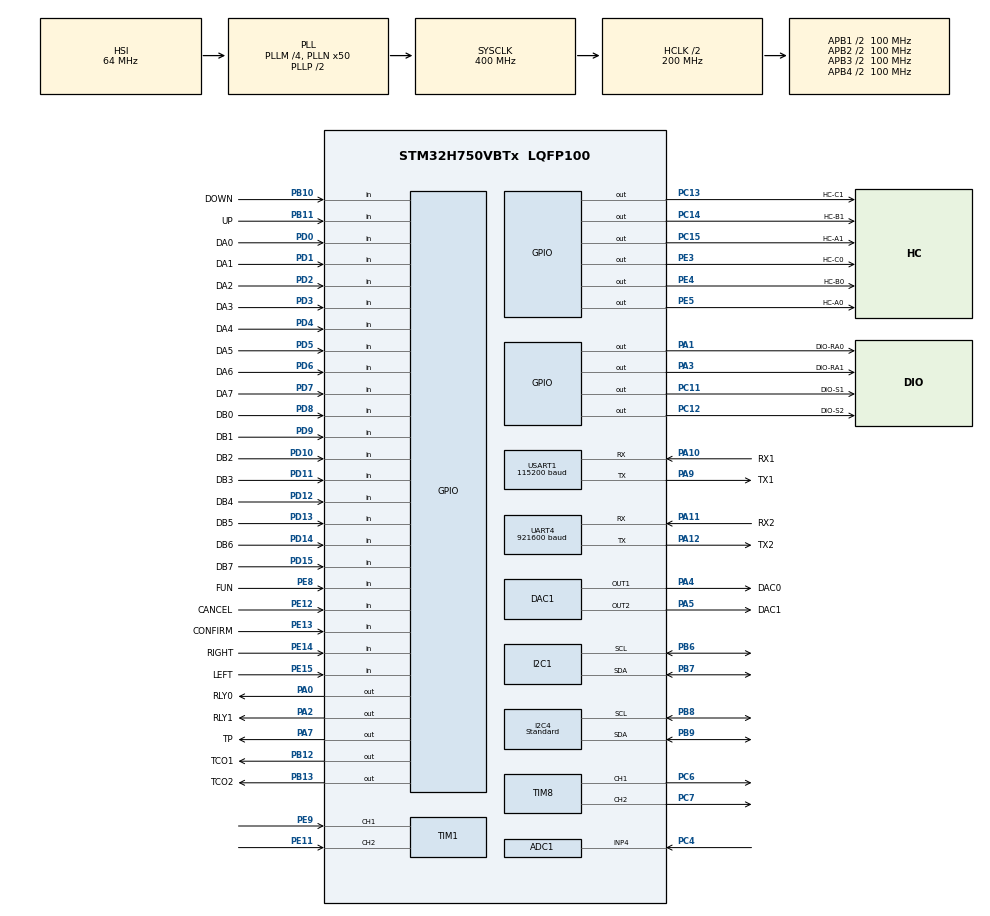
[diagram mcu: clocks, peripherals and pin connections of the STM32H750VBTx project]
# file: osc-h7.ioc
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ADC1.Channel-19\#ChannelRegularConversion=ADC_CHANNEL_4
ADC1.ContinuousConvMode=ENABLE
ADC1.DiscontinuousConvMode=DISABLE
ADC1.NbrOfConversion=1
ADC1.NbrOfConversionFlag=1
ADC1.OffsetNumber-19\#ChannelRegularConversion=ADC_OFFSET_NONE
ADC1.OffsetSignedSaturation-19\#ChannelRegularConversion=DISABLE
ADC1.Rank-19\#ChannelRegularConversion=1
ADC1.SamplingTime-19\#ChannelRegularConversion=ADC_SAMPLETIME_1CYCLE_5
ADC1.master=1
Bdma.BDMA_GENERATOR0.0.Direction=DMA_PERIPH_TO_MEMORY
Bdma.BDMA_GENERATOR0.0.EventEnable=DISABLE
Bdma.BDMA_GENERATOR0.0.Instance=BDMA_Channel0
Bdma.BDMA_GENERATOR0.0.MemDataAlignment=DMA_MDATAALIGN_BYTE
Bdma.BDMA_GENERATOR0.0.MemInc=DMA_MINC_ENABLE
Bdma.BDMA_GENERATOR0.0.Mode=DMA_NORMAL
Bdma.BDMA_GENERATOR0.0.PeriphDataAlignment=DMA_PDATAALIGN_BYTE
Bdma.BDMA_GENERATOR0.0.PeriphInc=DMA_PINC_DISABLE
Bdma.BDMA_GENERATOR0.0.Polarity=HAL_DMAMUX_REQ_GEN_RISING
Bdma.BDMA_GENERATOR0.0.Priority=DMA_PRIORITY_LOW
Bdma.BDMA_GENERATOR0.0.RequestNumber=1
Bdma.BDMA_GENERATOR0.0.SignalID=NONE
Bdma.BDMA_GENERATOR0.0.SyncEnable=DISABLE
Bdma.BDMA_GENERATOR0.0.SyncPolarity=HAL_DMAMUX_SYNC_NO_EVENT
Bdma.BDMA_GENERATOR0.0.SyncRequestNumber=1
Bdma.BDMA_GENERATOR0.0.SyncSignalID=NONE
Bdma.I2C4_TX.1.Direction=DMA_MEMORY_TO_PERIPH
Bdma.I2C4_TX.1.EventEnable=DISABLE
Bdma.I2C4_TX.1.Instance=BDMA_Channel1
Bdma.I2C4_TX.1.MemDataAlignment=DMA_MDATAALIGN_BYTE
Bdma.I2C4_TX.1.MemInc=DMA_MINC_ENABLE
Bdma.I2C4_TX.1.Mode=DMA_NORMAL
Bdma.I2C4_TX.1.PeriphDataAlignment=DMA_PDATAALIGN_BYTE
Bdma.I2C4_TX.1.PeriphInc=DMA_PINC_DISABLE
Bdma.I2C4_TX.1.Polarity=HAL_DMAMUX_REQ_GEN_RISING
Bdma.I2C4_TX.1.Priority=DMA_PRIORITY_LOW
Bdma.I2C4_TX.1.RequestNumber=1
Bdma.I2C4_TX.1.SignalID=NONE
Bdma.I2C4_TX.1.SyncEnable=DISABLE
Bdma.I2C4_TX.1.SyncPolarity=HAL_DMAMUX_SYNC_NO_EVENT
Bdma.I2C4_TX.1.SyncRequestNumber=1
Bdma.I2C4_TX.1.SyncSignalID=NONE
Bdma.Request0=BDMA_GENERATOR0
Bdma.Request1=I2C4_TX
Bdma.RequestsNb=2
DAC1.DAC_Channel-DAC_OUT1=DAC_CHANNEL_1
DAC1.DAC_Channel-DAC_OUT2=DAC_CHANNEL_2
Dma.Request0=USART1_RX
Dma.Request1=USART1_TX
Dma.Request2=TIM8_CH1
Dma.Request3=UART4_TX
Dma.TIM8_CH1.2.Direction=DMA_PERIPH_TO_MEMORY
Dma.TIM8_CH1.2.EventEnable=DISABLE
Dma.TIM8_CH1.2.FIFOMode=DMA_FIFOMODE_DISABLE
Dma.TIM8_CH1.2.Instance=DMA1_Stream0
Dma.TIM8_CH1.2.MemDataAlignment=DMA_MDATAALIGN_HALFWORD
Dma.TIM8_CH1.2.MemInc=DMA_MINC_ENABLE
Dma.TIM8_CH1.2.Mode=DMA_NORMAL
Dma.TIM8_CH1.2.PeriphDataAlignment=DMA_PDATAALIGN_HALFWORD
Dma.TIM8_CH1.2.PeriphInc=DMA_PINC_DISABLE
Dma.TIM8_CH1.2.Polarity=HAL_DMAMUX_REQ_GEN_RISING
Dma.TIM8_CH1.2.Priority=DMA_PRIORITY_LOW
Dma.TIM8_CH1.2.RequestNumber=1
Dma.TIM8_CH1.2.SignalID=NONE
Dma.TIM8_CH1.2.SyncEnable=DISABLE
Dma.TIM8_CH1.2.SyncPolarity=HAL_DMAMUX_SYNC_NO_EVENT
Dma.TIM8_CH1.2.SyncRequestNumber=1
Dma.TIM8_CH1.2.SyncSignalID=NONE
Dma.UART4_TX.3.Direction=DMA_MEMORY_TO_PERIPH
Dma.UART4_TX.3.EventEnable=DISABLE
Dma.UART4_TX.3.FIFOMode=DMA_FIFOMODE_DISABLE
Dma.UART4_TX.3.Instance=DMA1_Stream1
Dma.UART4_TX.3.MemDataAlignment=DMA_MDATAALIGN_BYTE
Dma.UART4_TX.3.MemInc=DMA_MINC_ENABLE
Dma.UART4_TX.3.Mode=DMA_NORMAL
Dma.UART4_TX.3.PeriphDataAlignment=DMA_PDATAALIGN_BYTE
Dma.UART4_TX.3.PeriphInc=DMA_PINC_DISABLE
Dma.UART4_TX.3.Polarity=HAL_DMAMUX_REQ_GEN_RISING
Dma.UART4_TX.3.Priority=DMA_PRIORITY_LOW
Dma.UART4_TX.3.RequestNumber=1
Dma.UART4_TX.3.SignalID=NONE
Dma.UART4_TX.3.SyncEnable=DISABLE
Dma.UART4_TX.3.SyncPolarity=HAL_DMAMUX_SYNC_NO_EVENT
Dma.UART4_TX.3.SyncRequestNumber=1
Dma.UART4_TX.3.SyncSignalID=NONE
Dma.USART1_RX.0.Direction=DMA_PERIPH_TO_MEMORY
Dma.USART1_RX.0.EventEnable=DISABLE
Dma.USART1_RX.0.FIFOMode=DMA_FIFOMODE_DISABLE
Dma.USART1_RX.0.Instance=DMA1_Stream5
Dma.USART1_RX.0.MemDataAlignment=DMA_MDATAALIGN_HALFWORD
Dma.USART1_RX.0.MemInc=DMA_MINC_ENABLE
Dma.USART1_RX.0.Mode=DMA_NORMAL
Dma.USART1_RX.0.PeriphDataAlignment=DMA_PDATAALIGN_HALFWORD
Dma.USART1_RX.0.PeriphInc=DMA_PINC_DISABLE
Dma.USART1_RX.0.Polarity=HAL_DMAMUX_REQ_GEN_RISING
Dma.USART1_RX.0.Priority=DMA_PRIORITY_LOW
Dma.USART1_RX.0.RequestNumber=1
Dma.USART1_RX.0.SignalID=NONE
Dma.USART1_RX.0.SyncEnable=DISABLE
Dma.USART1_RX.0.SyncPolarity=HAL_DMAMUX_SYNC_NO_EVENT
Dma.USART1_RX.0.SyncRequestNumber=1
Dma.USART1_RX.0.SyncSignalID=NONE
Dma.USART1_TX.1.Direction=DMA_MEMORY_TO_PERIPH
Dma.USART1_TX.1.EventEnable=DISABLE
Dma.USART1_TX.1.FIFOMode=DMA_FIFOMODE_DISABLE
Dma.USART1_TX.1.Instance=DMA1_Stream6
Dma.USART1_TX.1.MemDataAlignment=DMA_MDATAALIGN_HALFWORD
Dma.USART1_TX.1.MemInc=DMA_MINC_ENABLE
Dma.USART1_TX.1.Mode=DMA_NORMAL
Dma.USART1_TX.1.PeriphDataAlignment=DMA_PDATAALIGN_HALFWORD
Dma.USART1_TX.1.PeriphInc=DMA_PINC_DISABLE
Dma.USART1_TX.1.Polarity=HAL_DMAMUX_REQ_GEN_RISING
Dma.USART1_TX.1.Priority=DMA_PRIORITY_LOW
Dma.USART1_TX.1.RequestNumber=1
Dma.USART1_TX.1.SignalID=NONE
Dma.USART1_TX.1.SyncEnable=DISABLE
Dma.USART1_TX.1.SyncPolarity=HAL_DMAMUX_SYNC_NO_EVENT
Dma.USART1_TX.1.SyncRequestNumber=1
Dma.USART1_TX.1.SyncSignalID=NONE
I2C1.Timing=0x10C0ECFF
I2C4.I2C_Speed_Mode=I2C_Standard
I2C4.Timing=0x10C0ECFF
Mcu.Family=STM32H7
Mcu.Name=STM32H750VBTx
Mcu.Package=LQFP100
NVIC.ADC_IRQn=true\:0\:0\:false\:false\:true\:true\:true\:true
NVIC.BDMA_Channel1_IRQn=true\:0\:0\:false\:false\:true\:false\:true\:true
NVIC.DMA1_Stream0_IRQn=true\:0\:0\:false\:false\:true\:false\:true\:true
NVIC.DMA1_Stream1_IRQn=true\:0\:0\:false\:false\:true\:false\:true\:true
NVIC.DMA1_Stream5_IRQn=true\:0\:0\:false\:false\:true\:false\:true\:true
NVIC.DMA1_Stream6_IRQn=true\:0\:0\:false\:false\:true\:false\:true\:true
NVIC.I2C4_ER_IRQn=true\:0\:0\:false\:false\:true\:true\:true\:true
NVIC.I2C4_EV_IRQn=true\:0\:0\:false\:false\:true\:true\:true\:true
NVIC.PriorityGroup=NVIC_PRIORITYGROUP_4
NVIC.TIM2_IRQn=true\:2\:0\:true\:false\:true\:true\:true\:true
NVIC.TIM3_IRQn=true\:3\:0\:true\:false\:true\:true\:true\:true
NVIC.TIM4_IRQn=true\:2\:0\:true\:false\:true\:true\:true\:true
NVIC.TIM5_IRQn=true\:1\:0\:true\:false\:true\:true\:true\:true
NVIC.TIM6_DAC_IRQn=true\:2\:0\:true\:false\:true\:true\:true\:true
NVIC.UART4_IRQn=true\:0\:0\:false\:false\:true\:true\:true\:true
NVIC.USART1_IRQn=true\:0\:0\:false\:false\:true\:true\:true\:true
PA0.GPIO_Label=RLY0
PA0.Signal=GPIO_Output
PA1.GPIO_Label=DIO-RA0
PA1.Signal=GPIO_Output
PA10.GPIO_Label=RX1
PA10.Mode=Asynchronous
PA10.Signal=USART1_RX
PA11.GPIO_Label=RX2
PA11.Mode=Asynchronous
PA11.Signal=UART4_RX
PA12.GPIO_Label=TX2
PA12.Mode=Asynchronous
PA12.Signal=UART4_TX
PA2.GPIO_Label=RLY1
PA2.Signal=GPIO_Output
PA3.GPIO_Label=DIO-RA1
PA3.Signal=GPIO_Output
PA4.GPIO_Label=DAC0
PA4.Signal=COMP_DAC11_group
PA5.GPIO_Label=DAC1
PA5.Signal=COMP_DAC12_group
PA7.GPIO_Label=TP
PA7.GPIO_ModeDefaultOutputPP=GPIO_MODE_OUTPUT_PP
PA7.GPIO_PuPd=GPIO_PULLUP
PA7.PinState=GPIO_PIN_SET
PA7.Signal=GPIO_Output
PA9.GPIO_Label=TX1
PA9.Mode=Asynchronous
PA9.Signal=USART1_TX
PB10.GPIO_Label=DOWN
PB10.GPIO_PuPd=GPIO_PULLUP
PB10.Signal=GPIO_Input
PB11.GPIO_Label=UP
PB11.GPIO_PuPd=GPIO_PULLUP
PB11.Signal=GPIO_Input
PB12.GPIO_Label=TCO1
PB12.Signal=GPIO_Output
PB13.GPIO_Label=TCO2
PB13.Signal=GPIO_Output
PB6.Mode=I2C
PB6.Signal=I2C1_SCL
PB7.Mode=I2C
PB7.Signal=I2C1_SDA
PB8.Mode=I2C
PB8.Signal=I2C4_SCL
PB9.Mode=I2C
PB9.Signal=I2C4_SDA
PC11.GPIO_Label=DIO-S1
PC11.GPIO_ModeDefaultOutputPP=GPIO_MODE_OUTPUT_PP
PC11.PinAttribute=Free
PC11.Signal=GPIO_Output
PC12.GPIO_Label=DIO-S2
PC12.Signal=GPIO_Output
PC13.GPIO_Label=HC-C1
PC13.Signal=GPIO_Output
PC14-OSC32_IN\ (OSC32_IN).GPIO_Label=HC-B1
PC14-OSC32_IN\ (OSC32_IN).Signal=GPIO_Output
PC15-OSC32_OUT\ (OSC32_OUT).GPIO_Label=HC-A1
PC15-OSC32_OUT\ (OSC32_OUT).Signal=GPIO_Output
PC4.Signal=ADCx_INP4
PC6.Signal=S_TIM8_CH1
PC7.Signal=S_TIM8_CH2
PD0.GPIO_Label=DA0
PD0.GPIO_PuPd=GPIO_PULLDOWN
PD0.PinAttribute=Free
PD0.Signal=GPIO_Input
PD1.GPIO_Label=DA1
PD1.GPIO_PuPd=GPIO_PULLDOWN
PD1.PinAttribute=Free
PD1.Signal=GPIO_Input
PD10.GPIO_Label=DB2
PD10.GPIO_PuPd=GPIO_PULLDOWN
PD10.Signal=GPIO_Input
PD11.GPIO_Label=DB3
PD11.GPIO_Mode=GPIO_MODE_INPUT
PD11.GPIO_PuPd=GPIO_PULLDOWN
PD11.Signal=GPIO_Input
PD12.GPIO_Label=DB4
PD12.GPIO_Mode=GPIO_MODE_INPUT
PD12.GPIO_PuPd=GPIO_PULLDOWN
PD12.Signal=GPIO_Input
PD13.GPIO_Label=DB5
PD13.GPIO_Mode=GPIO_MODE_INPUT
PD13.GPIO_PuPd=GPIO_PULLDOWN
PD13.Signal=GPIO_Input
PD14.GPIO_Label=DB6
PD14.GPIO_Mode=GPIO_MODE_INPUT
PD14.GPIO_PuPd=GPIO_PULLDOWN
PD14.Signal=GPIO_Input
PD15.GPIO_Label=DB7
PD15.GPIO_Mode=GPIO_MODE_INPUT
PD15.GPIO_PuPd=GPIO_PULLDOWN
PD15.Signal=GPIO_Input
PD2.GPIO_Label=DA2
PD2.GPIO_PuPd=GPIO_PULLDOWN
PD2.PinAttribute=Free
PD2.Signal=GPIO_Input
PD3.GPIO_Label=DA3
PD3.GPIO_PuPd=GPIO_PULLUP
PD3.PinAttribute=Free
PD3.Signal=GPIO_Input
PD4.GPIO_Label=DA4
PD4.GPIO_PuPd=GPIO_PULLDOWN
PD4.PinAttribute=Free
PD4.Signal=GPIO_Input
PD5.GPIO_Label=DA5
PD5.GPIO_PuPd=GPIO_PULLDOWN
PD5.PinAttribute=Free
PD5.Signal=GPIO_Input
PD6.GPIO_Label=DA6
PD6.GPIO_PuPd=GPIO_PULLDOWN
PD6.PinAttribute=Free
PD6.Signal=GPIO_Input
PD7.GPIO_Label=DA7
PD7.GPIO_PuPd=GPIO_PULLUP
PD7.Signal=GPIO_Input
PD8.GPIO_Label=DB0
PD8.GPIO_PuPd=GPIO_PULLDOWN
PD8.Signal=GPIO_Input
PD9.GPIO_Label=DB1
PD9.GPIO_PuPd=GPIO_PULLDOWN
PD9.Signal=GPIO_Input
PE11.Signal=S_TIM1_CH2
PE12.GPIO_Label=CANCEL
PE12.GPIO_PuPd=GPIO_PULLUP
PE12.Signal=GPIO_Input
PE13.GPIO_Label=CONFIRM
PE13.GPIO_PuPd=GPIO_PULLUP
PE13.Signal=GPIO_Input
PE14.GPIO_Label=RIGHT
PE14.GPIO_PuPd=GPIO_PULLUP
PE14.Signal=GPIO_Input
PE15.GPIO_Label=LEFT
PE15.GPIO_PuPd=GPIO_PULLUP
PE15.Signal=GPIO_Input
PE3.GPIO_Label=HC-C0
PE3.PinAttribute=Free
PE3.Signal=GPIO_Output
PE4.GPIO_Label=HC-B0
PE4.PinAttribute=Free
PE4.Signal=GPIO_Output
PE5.GPIO_Label=HC-A0
PE5.PinAttribute=Free
PE5.Signal=GPIO_Output
PE8.GPIO_Label=FUN
PE8.GPIO_PuPd=GPIO_PULLUP
PE8.Signal=GPIO_Input
PE9.Signal=S_TIM1_CH1
PH0-OSC_IN\ (PH0).Mode=HSE-External-Oscillator
PH0-OSC_IN\ (PH0).PinAttribute=Free
PH0-OSC_IN\ (PH0).Signal=RCC_OSC_IN
PH1-OSC_OUT\ (PH1).Mode=HSE-External-Oscillator
PH1-OSC_OUT\ (PH1).Signal=RCC_OSC_OUT
ProjectManager.HeapSize=0x200
ProjectManager.StackSize=0x400
ProjectManager.TargetToolchain=MDK-ARM V5.32
RCC.ADCFreq_Value=75000000
RCC.APB1Freq_Value=100000000
RCC.APB2Freq_Value=100000000
RCC.APB3Freq_Value=100000000
RCC.APB4Freq_Value=100000000
RCC.CortexFreq_Value=400000000
RCC.D1PPRE=RCC_APB3_DIV2
RCC.D2PPRE1=RCC_APB1_DIV2
RCC.D2PPRE2=RCC_APB2_DIV2
RCC.D3PPRE=RCC_APB4_DIV2
RCC.DIVM1=4
RCC.DIVM2=4
RCC.DIVN1=50
RCC.DIVN2=9
RCC.FLatency-AdvancedSettings=FLASH_LATENCY_4
RCC.HCLKFreq_Value=200000000
RCC.HPRE=RCC_HCLK_DIV2
RCC.PLL1_VCI_Range-AdvancedSettings=RCC_PLL1VCIRANGE_1
RCC.PLL2FRACN=3072
RCC.PLL2_VCI_Range-AdvancedSettings=RCC_PLL2VCIRANGE_2
RCC.PLL3FRACN=0
RCC.PLL3_VCI_Range-AdvancedSettings=RCC_PLL3VCIRANGE_0
RCC.PLL3_VCO_SEL-AdvancedSettings=RCC_PLL3VCOMEDIUM
RCC.PLLFRACN=0
RCC.SYSCLKFreq_VALUE=400000000
RCC.SYSCLKSource=RCC_SYSCLKSOURCE_PLLCLK
RCC.USART16CLockSelection=RCC_USART16CLKSOURCE_PLL2
RCC.USART234578CLockSelection=RCC_USART234578CLKSOURCE_PLL2
RCC.USBFreq_Value=400000000
SH.ADCx_INP4.0=ADC1_INP4,IN4-Single-Ended
SH.COMP_DAC11_group.0=DAC1_OUT1,DAC_OUT1
SH.COMP_DAC12_group.0=DAC1_OUT2,DAC_OUT2
SH.S_TIM1_CH1.0=TIM1_CH1,Encoder_Interface
SH.S_TIM1_CH2.0=TIM1_CH2,Encoder_Interface
SH.S_TIM8_CH1.0=TIM8_CH1,PWM Generation1 CH1
SH.S_TIM8_CH2.0=TIM8_CH2,PWM Generation2 CH2
TIM2.Period=100-1
TIM2.Prescaler=20000-1
TIM3.Period=2000-1
TIM3.Prescaler=20000-1
TIM4.Period=100-1
TIM4.Prescaler=20000-1
TIM6.Prescaler=200-1
TIM8.Channel-PWM\ Generation1\ CH1=TIM_CHANNEL_1
TIM8.Channel-PWM\ Generation2\ CH2=TIM_CHANNEL_2
UART4.BaudRate=921600
USART1.BaudRate=115200
USART1.VirtualMode-Asynchronous=VM_ASYNC
VP_TIM2_VS_ClockSourceINT.Mode=Internal
VP_TIM3_VS_ClockSourceINT.Mode=Internal
VP_TIM4_VS_ClockSourceINT.Mode=Internal
VP_TIM5_VS_ClockSourceINT.Mode=Internal
VP_TIM6_VS_ClockSourceINT.Mode=Enable_Timer
VP_TIM8_VS_ClockSourceINT.Mode=Internal
VP_VREFBUF_V_VREFBUF.Mode=ExternalMode
board=custom

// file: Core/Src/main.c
/* USER CODE BEGIN Header */
/**
  ******************************************************************************
  * @file           : main.c
  * @brief          : Main program body
  ******************************************************************************
  * @attention
  *
  * Copyright (c) 2024 STMicroelectronics.
  * All rights reserved.
  *
  * This software is licensed under terms that can be found in the LICENSE file
  * in the root directory of this software component.
  * If no LICENSE file comes with this software, it is provided AS-IS.
  *
  ******************************************************************************
  */
/* USER CODE END Header */
#include "main.h"
#include "adc.h"
#include "bdma.h"
#include "dac.h"
#include "dma.h"
#include "i2c.h"
#include "tim.h"
#include "usart.h"
#include "gpio.h"

/* USER CODE BEGIN Includes */
#include "stdio.h"
#include "osc.h"
#include "key.h"
#include "filter.h"
#include "button.h"
#include "menu.h"
#include "flash.h"
//#include "DS18B20.h"
#include "function.h"
#include "18b20.h"
#include "pt100.h"
#include "encoder.h"
/* USER CODE END Includes */

void SystemClock_Config(void);
void PeriphCommonClock_Config(void);
/* USER CODE BEGIN PFP */

int fputc(int ch, FILE* file)
{
    UART4->TDR = ch & 0xFF;

    while((UART4->ISR & UART_FLAG_TC) == RESET);

    return ch;
}

/* USER CODE END PFP */

int main(void)
{

  /* MCU Configuration--------------------------------------------------------*/

  /* Reset of all peripherals, Initializes the Flash interface and the Systick. */
  HAL_Init();

  /* Configure the system clock */
  SystemClock_Config();

/* Configure the peripherals common clocks */
  PeriphCommonClock_Config();

  /* USER CODE BEGIN SysInit */
	HAL_Delay(1000);
  /* USER CODE END SysInit */

  /* Initialize all configured peripherals */
  MX_GPIO_Init();
  MX_DMA_Init();
  MX_BDMA_Init();
  MX_TIM3_Init();
  MX_USART1_UART_Init();
  MX_DAC1_Init();
  MX_UART4_Init();
  MX_TIM1_Init();
  MX_I2C1_Init();
  MX_I2C4_Init();
  MX_ADC1_Init();
  MX_TIM5_Init();
  MX_TIM8_Init();
  MX_TIM2_Init();
  MX_TIM4_Init();
  MX_TIM6_Init();
  /* USER CODE BEGIN 2 */
	encoder_init();
	Init_Osc();
	init_tempctrl();
	HAL_TIM_Base_Start_IT(&htim6);
	DS18B20_Init();

	DAC_init();                                                                                                                    //	DAC_init();
	if(*(__IO uint32_t*)0x08019000!=0xffffffff) load_calibo_data();
 DS18B20_SetLowResolution();
  /* USER CODE END 2 */

  /* Infinite loop */
  /* USER CODE BEGIN WHILE */
//	DS18B20_Init();
	//HAL_GPIO_WritePin(GPIOA,GPIO_PIN_7,GPIO_PIN_SET);

  while (1)
  {

//	temp_light_now = DS18B20_Get_Temperature()*0.0625;
//	printf("T_light.txt=\"%.1f��\"\xff\xff\xff",temp_light_now);
 //  delay_ms(1000);
//
//		output_ctrl2();
//		output_ctrl1();
    /* USER CODE END WHILE */

  }
}

void SystemClock_Config(void)
{
  RCC_OscInitTypeDef RCC_OscInitStruct = {0};
  RCC_ClkInitTypeDef RCC_ClkInitStruct = {0};

  /** Supply configuration update enable
  */
  HAL_PWREx_ConfigSupply(PWR_LDO_SUPPLY);

  /** Configure the main internal regulator output voltage
  */
  __HAL_PWR_VOLTAGESCALING_CONFIG(PWR_REGULATOR_VOLTAGE_SCALE1);

  while(!__HAL_PWR_GET_FLAG(PWR_FLAG_VOSRDY)) {}

  /** Initializes the RCC Oscillators according to the specified parameters
  * in the RCC_OscInitTypeDef structure.
  */
  RCC_OscInitStruct.OscillatorType = RCC_OSCILLATORTYPE_HSI;
  RCC_OscInitStruct.HSIState = RCC_HSI_DIV1;
  RCC_OscInitStruct.HSICalibrationValue = RCC_HSICALIBRATION_DEFAULT;
  RCC_OscInitStruct.PLL.PLLState = RCC_PLL_ON;
  RCC_OscInitStruct.PLL.PLLSource = RCC_PLLSOURCE_HSI;
  RCC_OscInitStruct.PLL.PLLM = 4;
  RCC_OscInitStruct.PLL.PLLN = 50;
  RCC_OscInitStruct.PLL.PLLP = 2;
  RCC_OscInitStruct.PLL.PLLQ = 2;
  RCC_OscInitStruct.PLL.PLLR = 2;
  RCC_OscInitStruct.PLL.PLLRGE = RCC_PLL1VCIRANGE_3;
  RCC_OscInitStruct.PLL.PLLVCOSEL = RCC_PLL1VCOWIDE;
  RCC_OscInitStruct.PLL.PLLFRACN = 0;
  if (HAL_RCC_OscConfig(&RCC_OscInitStruct) != HAL_OK)
  {
    Error_Handler();
  }

  /** Initializes the CPU, AHB and APB buses clocks
  */
  RCC_ClkInitStruct.ClockType = RCC_CLOCKTYPE_HCLK|RCC_CLOCKTYPE_SYSCLK
                              |RCC_CLOCKTYPE_PCLK1|RCC_CLOCKTYPE_PCLK2
                              |RCC_CLOCKTYPE_D3PCLK1|RCC_CLOCKTYPE_D1PCLK1;
  RCC_ClkInitStruct.SYSCLKSource = RCC_SYSCLKSOURCE_PLLCLK;
  RCC_ClkInitStruct.SYSCLKDivider = RCC_SYSCLK_DIV1;
  RCC_ClkInitStruct.AHBCLKDivider = RCC_HCLK_DIV2;
  RCC_ClkInitStruct.APB3CLKDivider = RCC_APB3_DIV2;
  RCC_ClkInitStruct.APB1CLKDivider = RCC_APB1_DIV2;
  RCC_ClkInitStruct.APB2CLKDivider = RCC_APB2_DIV2;
  RCC_ClkInitStruct.APB4CLKDivider = RCC_APB4_DIV2;

  if (HAL_RCC_ClockConfig(&RCC_ClkInitStruct, FLASH_LATENCY_2) != HAL_OK)
  {
    Error_Handler();
  }
}

void PeriphCommonClock_Config(void)
{
  RCC_PeriphCLKInitTypeDef PeriphClkInitStruct = {0};

  /** Initializes the peripherals clock
  */
  PeriphClkInitStruct.PeriphClockSelection = RCC_PERIPHCLK_ADC|RCC_PERIPHCLK_USART1
                              |RCC_PERIPHCLK_UART4;
  PeriphClkInitStruct.PLL2.PLL2M = 4;
  PeriphClkInitStruct.PLL2.PLL2N = 9;
  PeriphClkInitStruct.PLL2.PLL2P = 2;
  PeriphClkInitStruct.PLL2.PLL2Q = 2;
  PeriphClkInitStruct.PLL2.PLL2R = 2;
  PeriphClkInitStruct.PLL2.PLL2RGE = RCC_PLL2VCIRANGE_3;
  PeriphClkInitStruct.PLL2.PLL2VCOSEL = RCC_PLL2VCOMEDIUM;
  PeriphClkInitStruct.PLL2.PLL2FRACN = 3072;
  PeriphClkInitStruct.Usart234578ClockSelection = RCC_USART234578CLKSOURCE_PLL2;
  PeriphClkInitStruct.Usart16ClockSelection = RCC_USART16CLKSOURCE_PLL2;
  PeriphClkInitStruct.AdcClockSelection = RCC_ADCCLKSOURCE_PLL2;
  if (HAL_RCCEx_PeriphCLKConfig(&PeriphClkInitStruct) != HAL_OK)
  {
    Error_Handler();
  }
}

void Error_Handler(void)
{
  __disable_irq();
  while (1)
  {
  }
}
